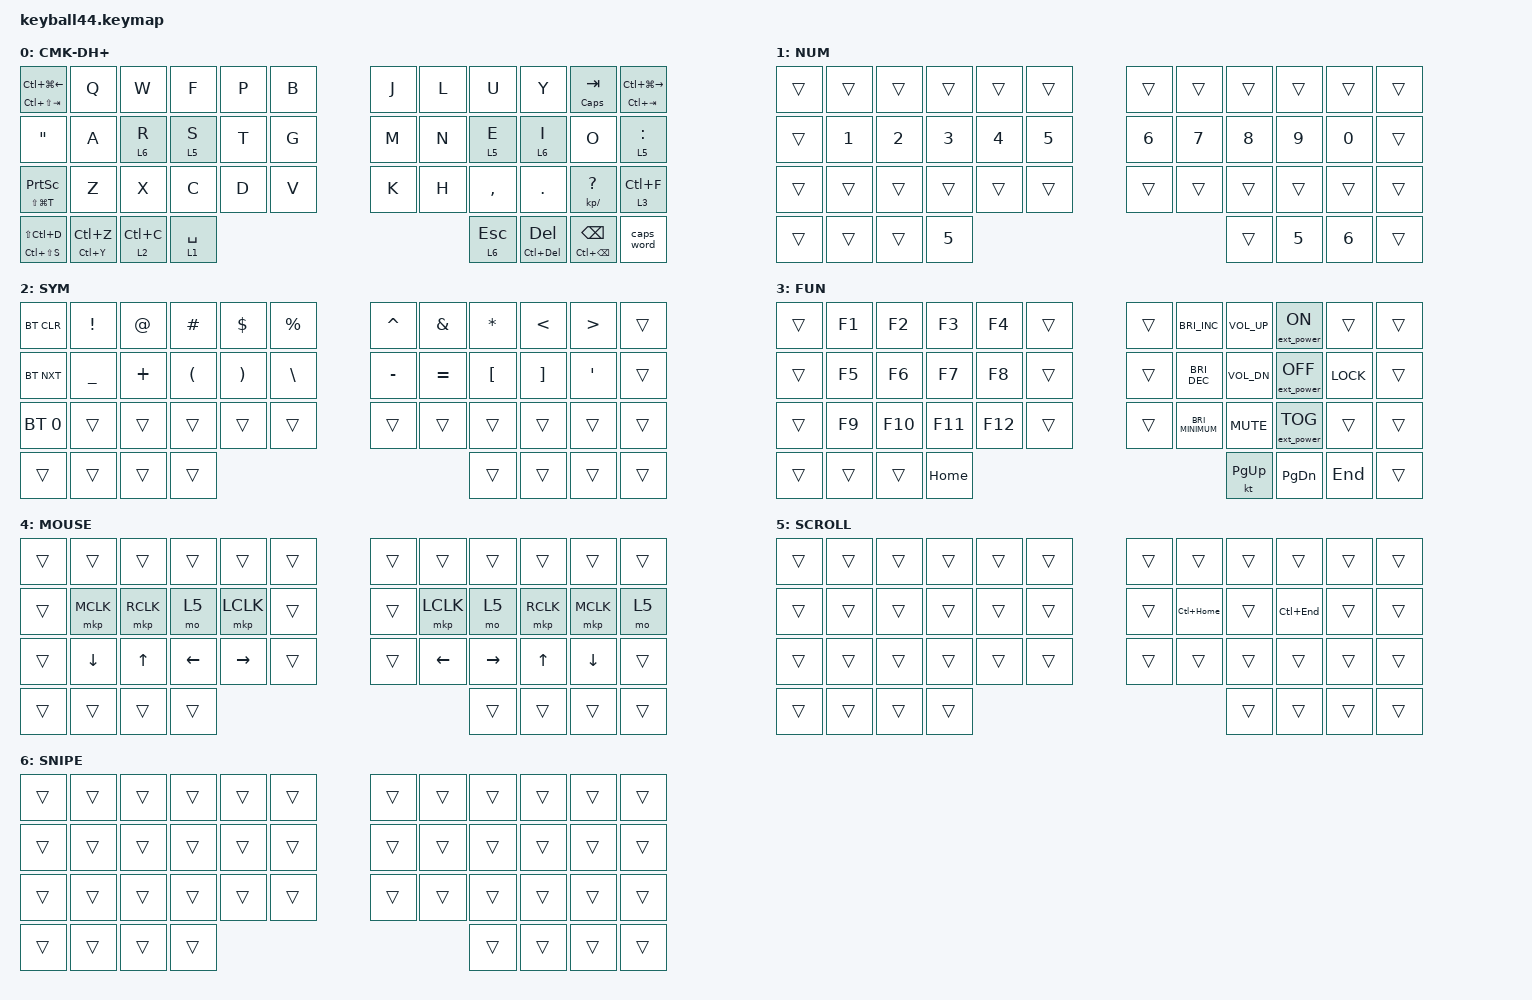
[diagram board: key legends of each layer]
#define DEFAULT 0
#define NUM      1
#define SYM      2
#define FUN      3
#define MOUSE    4
#define SCROLL   5
#define SNIPE    6

#include <behaviors/mouse_keys.dtsi>
#include <dt-bindings/zmk/mouse.h>
#include <behaviors.dtsi>
#include <dt-bindings/zmk/bt.h>
#include <dt-bindings/zmk/ext_power.h>
#include <dt-bindings/zmk/keys.h>
#include <dt-bindings/zmk/pointing.h>

&lt {
    tapping-term-ms = <200>;
    flavor = "balanced";
    quick-tap-ms = <0>;
};

&mt {
    tapping-term-ms = <200>;
    flavor = "balanced";
    quick-tap-ms = <0>;
};

&caps_word { continue-list = <UNDERSCORE MINUS>; };

/ {
    combos {
        compatible = "zmk,combos";

        Page_Refresh {
            timeout-ms = <50>;
            key-positions = <32 20>; // E and I keys
            bindings = <&kp LC(R)>;
        };

        Page_Backwards {
            timeout-ms = <50>;
            key-positions = <19 31>; // N and E keys
            bindings = <&kp LA(LEFT)>;
        };

        Page_Forward {
            timeout-ms = <50>;
            key-positions = <33 21>; // N, E, and I keys
            bindings = <&kp LA(RIGHT)>;
        };

        Number_Layer_Lock {
            bindings = <&tog 1>;
            key-positions = <4 7>;
        };

        Scroll_Layer_Lock {
            bindings = <&tog 5>;
            key-positions = <10 22>;
        };

        Symbol_Layer_Lock {
            bindings = <&tog 2>;
            key-positions = <9 2>;
        };

        Function_Layer_Lock {
            bindings = <&tog 3>;
            key-positions = <10 1>;
        };

        Mouse_Layer_Lock {
            bindings = <&tog 4>;
            key-positions = <8 3>;
        };

        To_Default_Layer_0 {
            bindings = <&to 0>;
            key-positions = <6 5>;
        };

        New_Tab {
            bindings = <&kp LC(T)>;
            key-positions = <42 20>;
        };

        Reopen_Closed_Tab {
            bindings = <&kp LC(LS(T))>;
            key-positions = <42 22>;
        };

        Clipboard {
            bindings = <&kp LG(V)>;
            key-positions = <39 38>;
        };

        Close_Tab {
            bindings = <&kp LC(W)>;
            key-positions = <42 21>;
        };

        Paste {
            bindings = <&kp LC(V)>;
            key-positions = <16 15>;
        };

        No_Format_Paste {
            bindings = <&kp LC(LS(V))>;
            key-positions = <16 15 14>;
        };

        Cut {
            bindings = <&kp LC(X)>;
            key-positions = <17 16>;
        };

        Snipe_Layer_Lock {
            bindings = <&tog 6>;
            key-positions = <35 43>;
        };

        Window_Right {
            bindings = <&kp LA(TAB)>;
            key-positions = <31 32 33>;
        };

        Window_Left {
            bindings = <&kp LA(LS(TAB))>;
            key-positions = <7 8 9>;
        };

        Tab_Right {
            bindings = <&kp LC(TAB)>;
            key-positions = <31 32>;
        };

        Tab_Left {
            bindings = <&kp LC(LS(TAB))>;
            key-positions = <7 8>;
        };

        Shift_Homerow_Mod_RH {
            bindings = <&kp RIGHT_SHIFT>;
            key-positions = <7 19>;
        };

        Ctrl_Homerow_Mod_RH {
            bindings = <&kp RCTRL>;
            key-positions = <20 8>;
        };

        Alt_Homerow_Mod_RH {
            bindings = <&kp RIGHT_ALT>;
            key-positions = <21 9>;
        };

        Windows_Homerow_Mod_RH {
            bindings = <&kp LEFT_GUI>;
            key-positions = <6 18>;
        };

        Shift_Homerow_Mod_LH {
            bindings = <&kp LEFT_SHIFT>;
            key-positions = <16 4>;
        };

        Ctrl_Homerow_Mod_LH {
            bindings = <&kp LCTRL>;
            key-positions = <15 3>;
        };

        Alt_Homerow_Mod_LH {
            bindings = <&kp LEFT_ALT>;
            key-positions = <14 2>;
        };

        Windows_Homerow_Mod_LH {
            bindings = <&kp LEFT_GUI>;
            key-positions = <17 5>;
        };

        Window_Task_View {
            bindings = <&kp LG(TAB)>;
            key-positions = <21 20>;
        };

        Layer_Reset_RH {
            bindings = <&to 0>;
            key-positions = <22 21>;
        };

        Layer_Reset_LH {
            bindings = <&to 0>;
            key-positions = <13 14>;
        };

        Enter {
            bindings = <&kp ENTER>;
            key-positions = <42 19>;
        };

        Left_Arrow {
            bindings = <&kp LEFT_ARROW>;
            key-positions = <30 18>;
        };

        Right_Arrow {
            bindings = <&kp RIGHT>;
            key-positions = <29 17>;
        };

        Up_Arrow {
            bindings = <&kp UP_ARROW>;
            key-positions = <18 30 42>;
        };

        Down_Arrow {
            bindings = <&kp DOWN>;
            key-positions = <17 29 39>;
        };

        the_Text_Fill_Macro {
            bindings = <&the_Text_Macro>;
            key-positions = <15 27>;
        };

        tion_Text_Fill_Macro {
            bindings = <&tion_Text_Suffix_Macro>;
            key-positions = <16 28>;
        };

        Here_Is_What_Cline_Did_Macro {
            bindings = <&Here_Is_What_Cline_Did_Macro>;
            key-positions = <14 26>;
        };

        and_Text_Fill_Macro {
            bindings = <&and_Text_Macro>;
            key-positions = <13 25>;
        };

        Tripple_Click_Macro_RH {
            bindings = <&Tripple_Click_Macro>;
            key-positions = <19 20>;
        };

        Shift_Enter {
            bindings = <&kp LS(ENTER)>;
            key-positions = <42 18>;
        };

        Ctrl_Enter {
            bindings = <&kp LC(ENTER)>;
            key-positions = <19 41 42>;
        };

        Tripple_Click_Macro_LH {
            bindings = <&Tripple_Click_Macro>;
            key-positions = <2 3>;
        };

        Doubble_Click_Macro_LH {
            bindings = <&Double_Click_Macro>;
            key-positions = <15 14>;
        };

        Lock_Screen {
            bindings = <&kp LG(L)>;
            key-positions = <11 10>;
        };

        RH_Paste {
            bindings = <&kp LC(V)>;
            key-positions = <22 34>;
        };

        RH_Copy {
            bindings = <&kp LC(C)>;
            key-positions = <22 23>;
        };

        Ctrl_A_Select_All {
            bindings = <&kp LC(A)>;
            key-positions = <18 19>;
        };

        Layer_Lock_Reset {
            bindings = <&to 0>;
            key-positions = <6 7>;
        };

        Doubble_Line_Break {
            bindings = <&Doubble_Line_Break_Macro>;
            key-positions = <30 31>;
        };
    };

    behaviors {
        lt_spc: layer_tap_space {
            compatible = "zmk,behavior-hold-tap";
            label = "LAYER_TAP_SPACE";
            #binding-cells = <2>;
            tapping-term-ms = <200>;
            quick-tap-ms = <150>;
            flavor = "balanced";
            retro-tap;
            bindings = <&mo>, <&kp>;
        };

        cmqus: comma_question {
            compatible = "zmk,behavior-mod-morph";
            label = "COMMA_QUESTION";
            #binding-cells = <0>;
            bindings = <&kp COMMA>, <&kp QUESTION>;

            mods = <(MOD_LSFT|MOD_RSFT)>;
        };

        dtsmi: dot_semi {
            compatible = "zmk,behavior-mod-morph";
            label = "DOT_SEMI";
            #binding-cells = <0>;
            bindings = <&kp DOT>, <&kp SEMI>;

            mods = <(MOD_LSFT|MOD_RSFT)>;
        };

        hm: homerow_mods {
            compatible = "zmk,behavior-hold-tap";
            label = "HOMEROW_MODS";
            #binding-cells = <2>;
            tapping-term-ms = <200>;
            quick-tap-ms = <175>;
            require-prior-idle-ms = <125>;
            flavor = "tap-preferred";
            bindings = <&kp>, <&kp>;
        };
    };

    macros {
        the_Text_Macro: The_Text_Macro {
            compatible = "zmk,behavior-macro";
            #binding-cells = <0>;
            bindings = <&kp T &kp H &kp E>;
            label = "THE_TEXT_MACRO";
        };

        and_Text_Macro: and_text_macro {
            compatible = "zmk,behavior-macro";
            #binding-cells = <0>;
            bindings = <&kp A &kp N &kp D>;
            label = "AND_TEXT_MACRO";
        };

        ing_Text_Macro: ing_Text_Macro {
            compatible = "zmk,behavior-macro";
            #binding-cells = <0>;
            bindings = <&kp I &kp N &kp G>;
            label = "ING_TEXT_MACRO";
        };

        tion_Text_Suffix_Macro: tion_Text_Macro {
            compatible = "zmk,behavior-macro";
            #binding-cells = <0>;
            bindings = <&kp T &kp I &kp O &kp N>;
            label = "TION_TEXT_MACRO";
        };

        ment_Text_Suffix_Macro: ment_Text_Suffix_Macro {
            compatible = "zmk,behavior-macro";
            #binding-cells = <0>;
            bindings = <&kp M &kp E &kp N &kp T>;
            label = "MENT_TEXT_SUFFIX_MACRO";
        };

        ATgmailDOTcom_Text_Macro: ATgmailDOTcom_Text_Macro {
            compatible = "zmk,behavior-macro";
            #binding-cells = <0>;
            bindings = <&kp AT &kp G &kp M &kp A &kp I &kp L &kp DOT &kp C &kp O &kp M>;
            label = "ATGMAILDOTCOM_TEXT_MACRO";
        };

        Tripple_Click_Macro: Tripple_Click_Macro {
            compatible = "zmk,behavior-macro";
            #binding-cells = <0>;
            bindings = <&mkp LCLK &mkp LCLK &mkp LCLK>;
            label = "TRIPPLE_CLICK_MACRO";
        };

        Double_Click_Macro: Double_Click_Macro {
            compatible = "zmk,behavior-macro";
            #binding-cells = <0>;
            bindings = <&mkp LCLK &mkp LCLK>;
            label = "DOUBLE_CLICK_MACRO";
        };

        Doubble_Line_Break_Macro: Doubble_Line_Break_Macro {
            compatible = "zmk,behavior-macro";
            #binding-cells = <0>;
            bindings = <&kp LS(ENTER) &kp LS(ENTER)>;
            label = "DOUBBLE_LINE_BREAK_MACRO";
        };

        Here_Is_What_Cline_Did_Macro: Here_Is_What_Cline_Did_Macro {
            compatible = "zmk,behavior-macro";
            #binding-cells = <0>;
            bindings = <&kp LS(H) &kp E &kp R &kp E &kp SPACE &kp I &kp S &kp SPACE &kp W &kp H &kp A &kp T &kp SPACE &kp C &kp L &kp I &kp N &kp E &kp SPACE &kp S &kp A &kp I &kp D &kp SPACE &kp A &kp N &kp D &kp SPACE &kp D &kp I &kp D &kp SPACE>;
            label = "HERE_IS_WHAT_CLINE_DID_MACRO";
        };
    };

    keymap {
        compatible = "zmk,keymap";

        default_layer {
            label = "CMK-DH+";
            bindings = <
&mt LC(LS(TAB)) LC(LG(LEFT))  &kp Q            &kp W        &kp F        &kp P         &kp B                             &kp J                        &kp L  &kp U      &kp Y       &mt CAPSLOCK TAB        &mt LC(TAB) LC(LG(RIGHT))
&kp DOUBLE_QUOTES             &kp A            &lt 6 R      &lt 5 S      &kp T         &kp G                             &kp M                        &kp N  &lt 5 E    &lt 6 I     &kp O                   &lt 5 COLON
&mt LS(LG(T)) PRINTSCREEN     &kp Z            &kp X        &kp C        &kp D         &kp V                             &kp K                        &kp H  &kp COMMA  &kp PERIOD  &mt KP_DIVIDE QUESTION  &lt 3 LC(F)
&mt LC(LS(S)) LS(LC(D))       &mt LC(Y) LC(Z)  &lt 2 LC(C)  &lt 1 SPACE  &lt 6 ESCAPE             &mt LC(DELETE) DELETE  &mt LC(BACKSPACE) BACKSPACE                                                        &caps_word
            >;
        };

        number_layer {
            label = "NUM";
            bindings = <
&trans  &trans        &trans        &trans        &trans        &trans                    &trans        &trans        &trans        &trans        &trans        &trans
&trans  &kp NUMBER_1  &kp NUMBER_2  &kp NUMBER_3  &kp NUMBER_4  &kp NUMBER_5              &kp NUMBER_6  &kp NUMBER_7  &kp NUMBER_8  &kp NUMBER_9  &kp NUMBER_0  &trans
&trans  &trans        &trans        &trans        &trans        &trans                    &trans        &trans        &trans        &trans        &trans        &trans
&trans  &trans        &trans        &kp NUMBER_5  &trans                          &kp N5  &kp NUMBER_6                                                          &trans
            >;
        };

        symbol_layer {
            label = "SYM";
            bindings = <
&bt BT_CLR    &kp EXCLAMATION  &kp AT_SIGN  &kp HASH              &kp DOLLAR             &kp PERCENT                &kp CARET  &kp AMPERSAND  &kp ASTERISK      &kp LESS_THAN      &kp GREATER_THAN  &trans
&bt BT_NXT    &kp UNDERSCORE   &kp PLUS     &kp LEFT_PARENTHESIS  &kp RIGHT_PARENTHESIS  &kp BACKSLASH              &kp MINUS  &kp EQUAL      &kp LEFT_BRACKET  &kp RIGHT_BRACKET  &kp SQT           &trans
&bt BT_SEL 0  &trans           &trans       &trans                &trans                 &trans                     &trans     &trans         &trans            &trans             &trans            &trans
&trans        &trans           &trans       &trans                &trans                                    &trans  &trans                                                                           &trans
            >;
        };

        function_layer {
            label = "FUN";
            bindings = <
&trans  &kp F1  &kp F2   &kp F3    &kp F4       &trans                     &trans   &kp C_BRIGHTNESS_INC      &kp C_VOLUME_UP  &ext_power EP_ON   &trans      &trans
&trans  &kp F5  &kp F6   &kp F7    &kp F8       &trans                     &trans   &kp C_BRIGHTNESS_DEC      &kp C_VOL_DN     &ext_power EP_OFF  &kp K_LOCK  &trans
&trans  &kp F9  &kp F10  &kp F11   &kp F12      &trans                     &trans   &kp C_BRIGHTNESS_MINIMUM  &kp K_MUTE       &ext_power EP_TOG  &trans      &trans
&trans  &trans  &trans   &kp HOME  &kt PAGE_UP              &kp PAGE_DOWN  &kp END                                                                            &trans
            >;
        };

        mouse_layer {
            label = "MOUSE";
            bindings = <
&trans  &trans     &trans        &trans          &trans     &trans              &trans  &trans     &trans     &trans        &trans     &trans
&trans  &mkp MCLK  &mkp RCLK     &mo 5           &mkp LCLK  &trans              &trans  &mkp LCLK  &mo 5      &mkp RCLK     &mkp MCLK  &mo 5
&trans  &kp DOWN   &kp UP_ARROW  &kp LEFT_ARROW  &kp RIGHT  &trans              &trans  &kp LEFT   &kp RIGHT  &kp UP_ARROW  &kp DOWN   &trans
&trans  &trans     &trans        &trans          &trans                 &trans  &trans                                                 &trans
            >;
        };

        scroll_layer {
            label = "SCROLL";
            bindings = <
&trans  &trans  &trans  &trans  &trans  &trans              &trans  &trans        &trans  &trans       &trans  &trans
&trans  &trans  &trans  &trans  &trans  &trans              &trans  &kp LC(HOME)  &trans  &kp LC(END)  &trans  &trans
&trans  &trans  &trans  &trans  &trans  &trans              &trans  &trans        &trans  &trans       &trans  &trans
&trans  &trans  &trans  &trans  &trans              &trans  &trans                                             &trans
            >;
        };

        snipe_layer {
            label = "SNIPE";
            bindings = <
&trans  &trans  &trans  &trans  &trans  &trans              &trans  &trans  &trans  &trans  &trans  &trans
&trans  &trans  &trans  &trans  &trans  &trans              &trans  &trans  &trans  &trans  &trans  &trans
&trans  &trans  &trans  &trans  &trans  &trans              &trans  &trans  &trans  &trans  &trans  &trans
&trans  &trans  &trans  &trans  &trans              &trans  &trans                                  &trans
            >;
        };
    };
};
